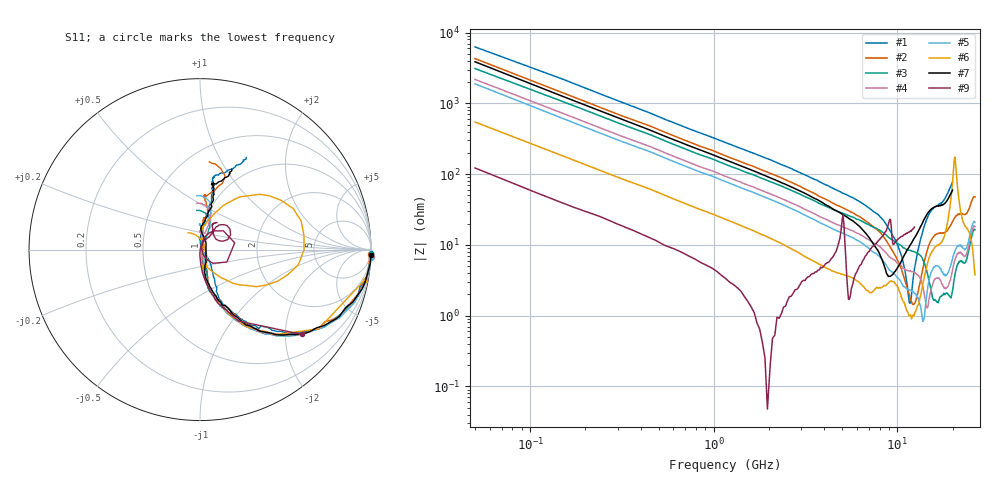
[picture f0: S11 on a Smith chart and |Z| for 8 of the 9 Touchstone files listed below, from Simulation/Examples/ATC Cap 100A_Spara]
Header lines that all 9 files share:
!  One Norden Lane
!  Huntington Station,  NY.  11746-2102
# GHZ S DB R 50
! Freq  |S11|  S11 Ph  |S21|  S21 Ph  |S12|  S12 Ph  |S22|  S22 Ph
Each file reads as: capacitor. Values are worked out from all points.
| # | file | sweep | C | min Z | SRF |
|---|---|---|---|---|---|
| 1 | 100A0R5.S2P | 50 MHz to 20 GHz | 485 fF | 1.49 ohm | 11.7 GHz |
| 2 | 500S0R8.S2P | 50 MHz to 26.5 GHz | 753 fF | 1.43 ohm | 12.27 GHz |
| 3 | 500S1R0.S2P | 50 MHz to 26.5 GHz | 996 fF | 1.52 ohm | 16.19 GHz |
| 4 | 500S1R5.S2P | 50 MHz to 26.5 GHz | 1.47 pF | 1.29 ohm | 14.58 GHz |
| 5 | 500S1R8.S2P | 50 MHz to 26.5 GHz | 1.74 pF | 828 mohm | 13.83 GHz |
| 6 | 500S5R6.S2P | 50 MHz to 26.5 GHz | 5.85 pF | 900 mohm | 8.285 GHz |
| 7 | 700A0R8.S2P | 50 MHz to 20 GHz | 844 fF | 3.58 ohm | 9.114 GHz |
| 8 | 700A120F.S2P | 50 MHz to 12.4 GHz | 12 pF | 261 mohm | 2.821 GHz |
| 9 | 700A270F.S2P | 50 MHz to 12.4 GHz | 26.9 pF | 47.8 mohm | 1.951 GHz |
